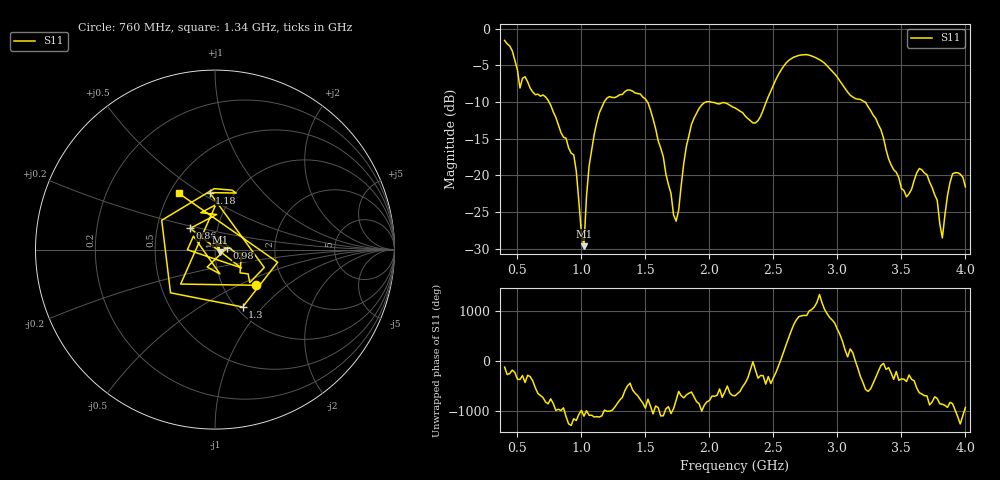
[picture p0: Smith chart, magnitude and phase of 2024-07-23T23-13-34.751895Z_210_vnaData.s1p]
!Created with skrf (http://scikit-rf.org).
# Hz S RI R 50.0
!freq ReS11 ImS11
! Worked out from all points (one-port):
!   181 points, 400 MHz to 4 GHz, reference 50 ohm
!   lowest |S11| = -29.7 dB at 1.02 GHz (marker M1), VSWR 1.07, Z = 53 - j1.58 ohm
!   |S11| at or under -10 dB: 1.516 GHz to 1.973 GHz (456.5 MHz wide, 26.2 % of centre); 2.012 GHz to 2.443 GHz (431.3 MHz wide, 19.4 % of centre); 3.216 GHz to end of sweep (the widest 3 of 4)
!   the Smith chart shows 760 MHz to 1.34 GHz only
!   S11 on the Smith chart (normalised r, x): 760 MHz: 1.43, -0.62; 860 MHz: 0.74, +0.18; 980 MHz: 1.14, +0.02; 1.18 GHz: 0.77, +0.55; 1.3 GHz: 1.07, -0.78; 1.34 GHz: 0.56, +0.41
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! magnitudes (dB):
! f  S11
! 400 MHz  -1.6
! 520 MHz  -8.1
! 760 MHz  -10.4
! 860 MHz  -14.8
! 940 MHz  -17.2
! 980 MHz  -23.5
! 1.02 GHz  -29.7
! 1.06 GHz  -18.8
! 1.18 GHz  -9.9
! 1.3 GHz  -9.0
! 1.34 GHz  -8.6
! 1.52 GHz  -10.1
! 1.72 GHz  -25.4
! 1.76 GHz  -24.7
! 1.82 GHz  -16.0
! 1.92 GHz  -10.9
! 2.2 GHz  -10.8
! 2.36 GHz  -12.8
! 2.66 GHz  -3.9
! 2.88 GHz  -4.4
! 3.1 GHz  -9.1
! 3.3 GHz  -12.3
! 3.56 GHz  -22.5
! 3.7 GHz  -19.9
! 3.78 GHz  -23.4
! 3.82 GHz  -28.5
! 3.9 GHz  -19.8
! 4 GHz  -21.6
